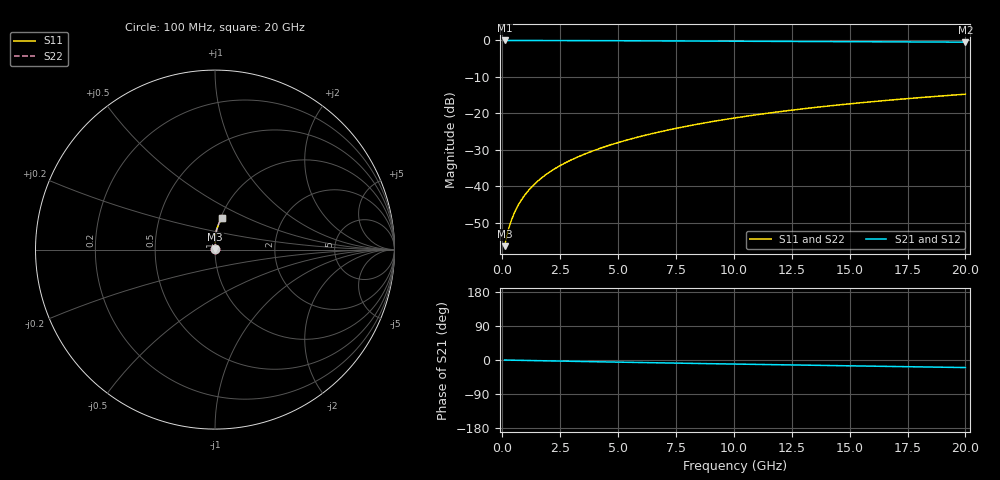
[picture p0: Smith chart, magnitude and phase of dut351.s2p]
! Touchstone file exported from HFSS 2024.1.0
!  File:  C:/UserFiles/LocalFiles/RDL_TSV_Batchsim/temp_RDL_bottom_351_1779612360.aedt
!  Generated:  04:48:57 PM May 24, 2026
!  Design:  RDL_bottom
!  Project:  temp_RDL_bottom_351_1779612360
!  Setup:  Setup1
!  Solution:  Sweep
! Variables:
!  dtsv = 10.80580581um
!  hbump = 3um
!  htsv = 85.29um
!  ldown = 285.34um
!  lrdl = 100um
!  p = 40
!  p1 = 44.02um
!  rhole = 1um
!  t = 450um
!  tdown = 4.15um
!  trdl = 3.915915916um
!  wdown = 23.56um
!  wrdl = 20um
# GHz S MA R 50.000000
! Terminal data exported
! Port[1] = RDL1_T1
! Port[2] = RDL1_T2
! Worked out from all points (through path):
!   200 points, 100 MHz to 20 GHz, reference 50 ohm
!   highest |S21| = -0.01 dB at 100 MHz (marker M1); lowest = -0.5 dB at 20 GHz (marker M2)
!   group delay of S21, straight-line fit = 2.73 ps
!   lowest |S11| = -56.4 dB at 100 MHz (marker M3), VSWR 1.00, Z = 50.1 + j0.087 ohm
!   |S11| at or under -10 dB: start of sweep to end of sweep
!   |S22| runs from -56.4 to -14.8 dB; largest |S21 - S12| = 5.4e-15
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0.1  0.001507 35.1  0.9988 -0.1  0.9988 -0.1  0.001507 35.1
! Gamma 0 0 0 0
! Port Impedance 50 0 50 0
0.2  0.002122 51.8  0.9987 -0.2  0.9987 -0.2  0.002122 51.8
0.3  0.002785 60.5  0.9986 -0.4  0.9986 -0.4  0.002785 60.5
0.4  0.003465 66.0  0.9985 -0.5  0.9985 -0.5  0.003465 66.0
0.5  0.00416 70.0  0.9984 -0.6  0.9984 -0.6  0.004159 70.0
0.6  0.004867 72.9  0.9983 -0.7  0.9983 -0.7  0.004867 72.9
0.8  0.006309 76.9  0.9982 -0.9  0.9982 -0.9  0.006309 76.9
1.1  0.00852 80.5  0.9979 -1.3  0.9979 -1.3  0.00852 80.5
1.3  0.01001 82.1  0.9977 -1.5  0.9977 -1.5  0.01001 82.1
1.6  0.01228 83.9  0.9974 -1.9  0.9974 -1.9  0.01228 83.9
2.1  0.0161 85.8  0.9967 -2.4  0.9967 -2.4  0.0161 85.8
2.7  0.02077 87.2  0.9956 -3.1  0.9956 -3.1  0.02077 87.2
3.5  0.02716 88.5  0.9939 -4.0  0.9939 -4.0  0.02716 88.5
4.2  0.03292 89.1  0.9922 -4.8  0.9922 -4.8  0.03292 89.1
5  0.03971 89.6  0.99 -5.7  0.99 -5.7  0.03971 89.6
6.8  0.05573 89.6  0.9847 -7.5  0.9847 -7.5  0.05573 89.6
8.4  0.07069 88.9  0.9798 -9.2  0.9798 -9.2  0.07069 88.9
10.1  0.08705 87.7  0.9746 -10.8  0.9746 -10.8  0.08705 87.7
11.7  0.1027 86.2  0.9699 -12.3  0.9699 -12.3  0.1027 86.2
13.4  0.1194 84.5  0.965 -13.9  0.965 -13.9  0.1194 84.5
16.7  0.1515 81.0  0.9558 -17.0  0.9558 -17.0  0.1515 81.0
20  0.1829 77.4  0.9468 -19.9  0.9468 -19.9  0.1829 77.4
